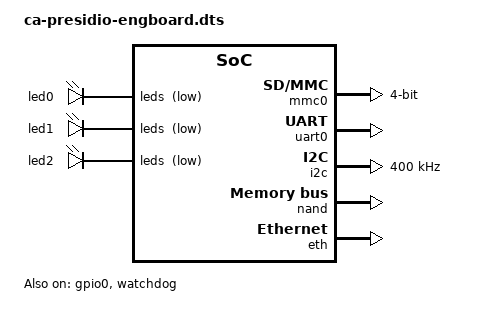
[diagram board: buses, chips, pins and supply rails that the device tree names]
// SPDX-License-Identifier: GPL-2.0+
/*
 * Copyright (C) 2020, Cortina Access Inc.
 */

/dts-v1/;

/ {
   #address-cells = <2>;
   #size-cells = <1>;

	mmc0: mmc@f4400000 {
		compatible = "cortina,ca-mmc";
		reg = <0x0 0xf4400000 0x1000>;
		bus-width = <4>;
		sd_dll_ctrl = <0xf43200e8>;
		io_drv_ctrl = <0xf432004c>;
	};

	gpio0: gpio-controller@0xf4329280  {
		compatible = "cortina,ca-gpio";
		reg = <0x0 0xf4329280 0x24>;
		gpio-controller;
		#gpio-cells = <2>;
		status = "okay";
	};
	gpio1: gpio-controller@0xf43292a4  {
		compatible = "cortina,ca-gpio";
		reg = <0x0 0xf43292a4 0x24>;
		gpio-controller;
		#gpio-cells = <2>;
		status = "disabled";
	};

	watchdog: watchdog@0xf432901c {
		compatible = "cortina,ca-wdt";
		reg = <0x0 0xf432901c 0x34>,
		      <0x0 0xf4320020 0x04>;
		status = "okay";
	};

	uart0: serial@0xf4329148  {
		bootph-all;
		compatible = "cortina,ca-uart";
		reg = <0x0 0xf4329148 0x30>;
		status = "okay";
	};

	i2c: i2c@f4329120 {
		compatible = "cortina,ca-i2c";
		reg = <0x0 0xf4329120 0x28>;
		clock-frequency = <400000>;
	};

	nand: nand-controller@f4324000 {
		#address-cells = <1>;
		#size-cells = <0>;
		compatible = "cortina,ca-nand";
		reg = <0 0xf4324000 0x3b0>, /* NAND controller */
		      <0 0xf7001000 0xb4>, /* DMA_GLOBAL */
		      <0 0xf7001a00 0x80>; /* DMA channel0 for FLASH */
		status = "okay";
		nand-ecc-mode = "hw";
		nand-ecc-strength = <16>;
		nand-ecc-step-size = <1024>;    /* Must be 1024 */
		nand_flash_base_addr = <0xe0000000>;
	};

	sflash: sflash-controller@f4324000 {
		#address-cells = <2>;
		#size-cells = <1>;
		compatible = "cortina,ca-sflash";
		reg = <0x0 0xf4324000 0x50>;
		reg-names = "sflash-regs";
		flash@0 {
			compatible = "jedec,spi-nor";
			spi-rx-bus-width = <1>;
			spi-max-frequency = <108000000>;
		};
	};

	leds: led-controller@f43200f0 {
		compatible = "cortina,ca-leds";
		reg = <0x0 0xf43200f0 0x40>;

		cortina,blink-rate1 = <256>;
		cortina,blink-rate2 = <512>;

		led@0 {
			pin = <0>;
			active-low;
			blink-sel =<0>;
			port = <0>;
			off-event = <0>;
			label = "led0";
		};

		led@1 {
			pin = <1>;
			active-low;
			blink-sel =<1>;
			label = "led1";
		};

		led@2 {
			pin = <2>;
			active-low;
			label = "led2";
		};

	};

	eth: ethnet@0xf4300000 {
		compatible = "eth_cortina";
		reg = <0x0 0xf4320000 0x34>,
		      <0x0 0xf43290d8 0x04>,
		      <0x0 0xf4304000 0x04>;

		/* port0: phy address 1 - GMAC0: port 0
		 * port1: phy address 2 - GMAC1: port 1
		 * port2: phy address 3 - GMAC2: port 2
		 * port3: phy address 4 - GMAC3: port 3
		 * port4: phy address 5 - RGMII: port 4
		 */
		valid-port-map = <0x1f>;
		valid-port-num = <5>;
		valid-ports = <0x1 0x0>,
			      <0x2 0x1>,
			      <0x3 0x2>,
			      <0x4 0x3>,
			      <0x5 0x4>;
		def-active-port = <0x3>;
		inter-gphy-num = <6>;
		inter-gphy-val = <0xf43380fc 0xbcd>,
				 <0xf43380dc 0xeeee>,
				 <0xf43380d8 0xeeee>,
				 <0xf43380fc 0xbce>,
				 <0xf43380c0 0x7777>,
				 <0xf43380c4 0x7777>;
		init-rgmii = <1>;
		ni-xram-base = <0xF4500000>;
	};
};
